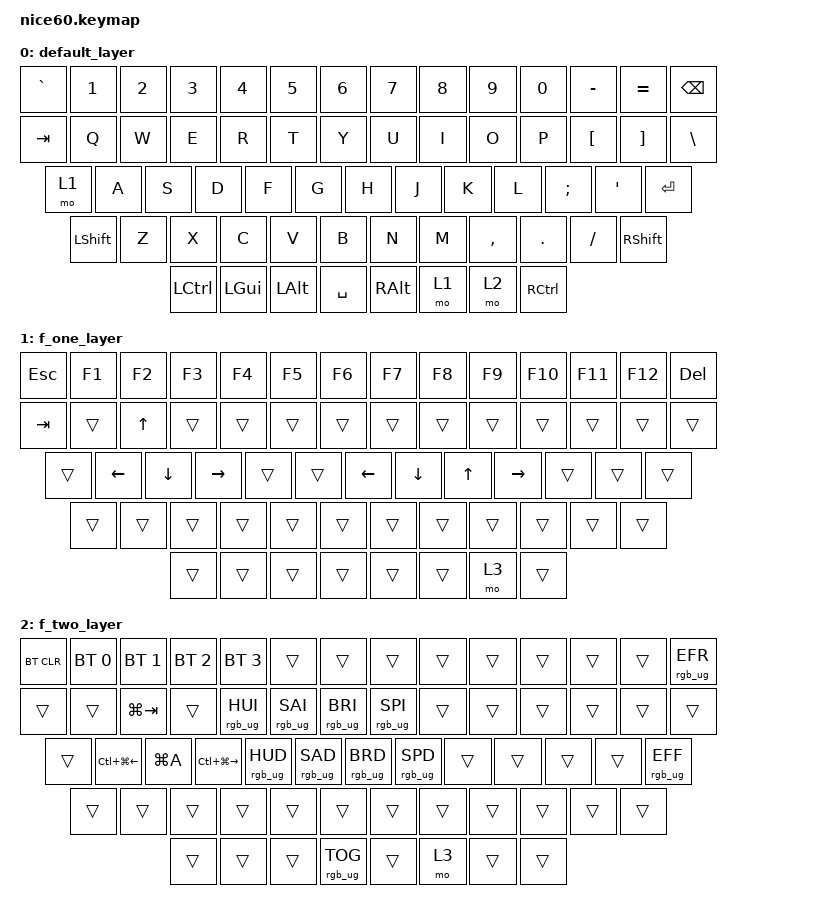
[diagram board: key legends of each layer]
/*
 * Copyright (c) 2021 Nick Winans
 *
 * SPDX-License-Identifier: MIT
 */

#include <behaviors.dtsi>
#include <dt-bindings/zmk/keys.h>
#include <dt-bindings/zmk/rgb.h>
#include <dt-bindings/zmk/bt.h>
#include <dt-bindings/zmk/outputs.h>
#include <dt-bindings/zmk/reset.h>
#include <dt-bindings/zmk/ext_power.h>

/ {
	keymap {
		compatible = "zmk,keymap";
		
		default_layer {
// ------------------------------------------------------------------------------------------
// | `~  |  1  |  2  |  3  |  4  |  5  |  6  |  7  |  8  |  9  |  0  |  -  |  =  |   BKSP   |
// | TAB  |  Q  |  W  |  E  |  R  |  T  |  Y  |  U  |  I  |  O  |  P  |  [  |  ]  |   "|"   |
// | MO(1) |  A  |  S  |  D  |  F  |  G  |  H  |  J  |  K  |  L  |  ;  |  '  |     ENTER    |
// |  SHIFT  |  Z  |  X  |  C  |  V  |  B  |  N  |  M  |  ,  |  .  |  /  |      SHIFT       |
// |  CTL  |  WIN  |  ALT  |            SPACE              |  ALT  |  MO(1) | MO(2) |  CTL  |
// ------------------------------------------------------------------------------------------
			bindings = <
	&kp GRAVE &kp N1 &kp N2 &kp N3 &kp N4 &kp N5 &kp N6 &kp N7 &kp N8 &kp N9 &kp N0 &kp MINUS &kp EQUAL  &kp BSPC
	&kp TAB    &kp Q  &kp W  &kp E  &kp R  &kp T  &kp Y  &kp U  &kp I  &kp O  &kp P  &kp LBKT  &kp RBKT  &kp BSLH
	&mo 1       &kp A  &kp S  &kp D  &kp F  &kp G  &kp H  &kp J  &kp K  &kp L  &kp SEMI &kp SQT           &kp RET
	&kp LSHFT     &kp Z  &kp X  &kp C  &kp V  &kp B  &kp N  &kp M  &kp COMMA &kp DOT &kp FSLH           &kp RSHFT
	&kp LCTRL   &kp LGUI &kp LALT                &kp SPACE                     &kp RALT  &mo 1  &mo 2   &kp RCTRL
			>;
		};

		f_one_layer {
// -------------------------------------------------------------------------------------------
// | ESC | F1  | F2  | F3  | F4  | F5  | F6  | F7  | F8  | F9  | F10  | F11 | F12 |  DELETE  |
// | TAB   |     | UP  |     |     |     |     |     |     |     |     |     |     |         |
// |        | LF  | DN  | RG  |     |     | LF  | DN  | UP  | RG  |     |     |              |
// |          |     |     |     |     |     |     |     |     |     |     |                  |
// |        |       |       |                               |       |        | MO(3) |       |
// -------------------------------------------------------------------------------------------
			bindings = <
	&kp ESC  &kp F1   &kp F2   &kp F3   &kp F4   &kp F5   &kp F6   &kp F7   &kp F8   &kp F9   &kp F10   &kp F11   &kp F12   &kp DEL
	&kp TAB   &trans   &kp UP   &trans   &trans   &trans   &trans   &trans   &trans   &trans   &trans    &trans    &trans    &trans
	&trans     &kp LEFT &kp DOWN &kp RIGHT &trans  &trans   &kp LEFT &kp DOWN &kp UP   &kp RIGHT &trans   &trans             &trans
	&trans      &trans   &trans   &trans    &trans  &trans   &trans   &trans   &trans   &trans   &trans                      &trans
	&trans     &trans    &trans                      &trans                           &trans     &trans   &mo 3              &trans
			>;
		};
		
		f_two_layer {
// ---------------------------------------------------------------------------------------------------------
// | BT CLR | BT1 |  BT2  | BT3 | BT4 |     |     |     |     |     |      |     |     |     EFFECT REV    |
// |         |     |  WinTV |      | HUEUP | SATUP | BRIUP | SPDUP |    |     |    |     |     |           |
// |          | WinL | WinNo  | WinR | HUEDN | SATDN | BRIDN | SPDDN |    |     |   |     |   EFFECT FWD   |
// |             |     |       |       |      |       |       |        |    |     |     |                  |
// |          |      |      |                 TOG RGB                     |         | MO(3) |       |      |
// ---------------------------------------------------------------------------------------------------------
			bindings = <
	&bt BT_CLR  &bt BT_SEL 0  &bt BT_SEL 1  &bt BT_SEL 2  &bt BT_SEL 3     &trans           &trans           &trans           &trans   &trans   &trans   &trans   &trans   &rgb_ug RGB_EFR
	&trans       &trans        &kp LG(TAB)   &trans        &rgb_ug RGB_HUI  &rgb_ug RGB_SAI  &rgb_ug RGB_BRI  &rgb_ug RGB_SPI  &trans   &trans   &trans   &trans   &trans           &trans
	&trans   &kp LC(LG(LEFT))   &kp LG(A)  &kp LC(LG(RIGHT)) &rgb_ug RGB_HUD  &rgb_ug RGB_SAD  &rgb_ug RGB_BRD  &rgb_ug RGB_SPD  &trans   &trans   &trans   &trans          &rgb_ug RGB_EFF
	&trans         &trans        &trans       &trans         &trans           &trans           &trans           &trans           &trans   &trans   &trans                           &trans
	&trans        &trans        &trans                                    &rgb_ug RGB_TOG                                                  &trans  &mo 3       &trans               &trans
			>;
		};
	};
};
